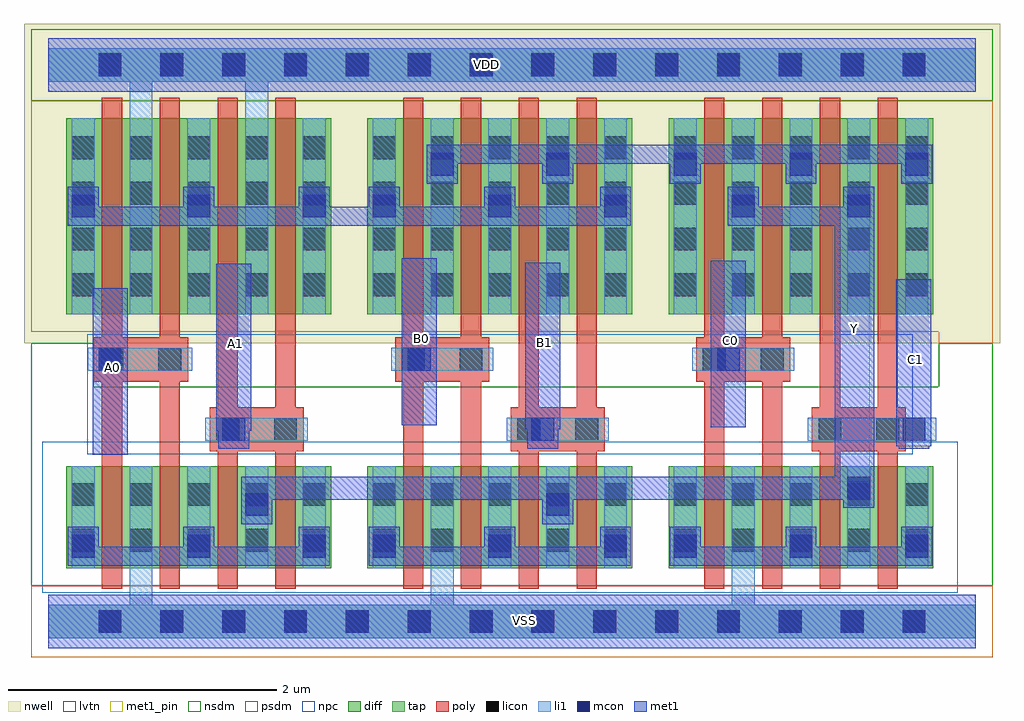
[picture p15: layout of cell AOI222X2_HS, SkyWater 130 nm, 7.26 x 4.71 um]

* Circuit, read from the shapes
.subckt AOI222X2_HS A0 A1 B0 B1 C0 C1 VDD VSS Y
XM1 VSS A0 n1 VSS sky130_fd_pr__nfet_01v8_lvt w=0.76 l=0.15 m=2
XM2 Y A1 n1 VSS sky130_fd_pr__nfet_01v8_lvt w=0.76 l=0.15 m=2
XM3 VSS B0 n2 VSS sky130_fd_pr__nfet_01v8_lvt w=0.76 l=0.15 m=2
XM4 Y B1 n2 VSS sky130_fd_pr__nfet_01v8_lvt w=0.76 l=0.15 m=2
XM5 VSS C0 n3 VSS sky130_fd_pr__nfet_01v8_lvt w=0.76 l=0.15 m=2
XM6 Y C1 n3 VSS sky130_fd_pr__nfet_01v8_lvt w=0.76 l=0.15 m=2
XM7 VDD A0 n4 VDD sky130_fd_pr__pfet_01v8 w=1.46 l=0.15 m=2
XM8 VDD A1 n4 VDD sky130_fd_pr__pfet_01v8 w=1.46 l=0.15 m=2
XM9 n5 B0 n4 VDD sky130_fd_pr__pfet_01v8 w=1.46 l=0.15 m=2
XM10 n5 B1 n4 VDD sky130_fd_pr__pfet_01v8 w=1.46 l=0.15 m=2
XM11 Y C0 n5 VDD sky130_fd_pr__pfet_01v8 w=1.46 l=0.15 m=2
XM12 Y C1 n5 VDD sky130_fd_pr__pfet_01v8 w=1.46 l=0.15 m=2
.ends

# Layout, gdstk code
import gdstk
lib = gdstk.Library(unit=1e-6, precision=1e-09)
def R(c, l, rs):  # rectangles x0, y0, x1, y1
    for r in rs: c.add(gdstk.rectangle(r[:2], r[2:], *l))
def A(c, l, x, y, w, h, nx, ny, dx, dy):  # array of equal rectangles
    R(c, l, [(x+i*dx, y+j*dy, x+i*dx+w, y+j*dy+h) for i in range(nx) for j in range(ny)])
def P(c, l, *ps):  # polygons
    for p in ps: c.add(gdstk.Polygon(p, *l))
nwell = (64, 20)
diff = (65, 20)
tap = (65, 44)
poly = (66, 20)
licon = (66, 44)
li1 = (67, 20)
mcon = (67, 44)
met1_pin = (68, 16)
met1 = (68, 20)
nsdm = (93, 44)
psdm = (94, 20)
npc = (95, 20)
lvtn = (125, 44)

l1m1_c_cdns_750721774071 = lib.new_cell('L1M1_C_CDNS_7507217740715')
R(l1m1_c_cdns_750721774071, li1, [(-0.085,-0.085,0.085,0.085)])
R(l1m1_c_cdns_750721774071, mcon, [(-0.085,-0.085,0.085,0.085)])
R(l1m1_c_cdns_750721774071, met1, [(-0.115,-0.145,0.115,0.145)])

l1m1_c_cdns_750721774072 = lib.new_cell('L1M1_C_CDNS_750721774072')
R(l1m1_c_cdns_750721774072, li1, [(-0.085,-0.165,0.085,0.165)])
R(l1m1_c_cdns_750721774072, mcon, [(-0.085,-0.085,0.085,0.085)])
R(l1m1_c_cdns_750721774072, met1, [(-0.115,-0.145,0.115,0.145)])

pyl1con_c_cdns_750721774 = lib.new_cell('PYL1CON_C_CDNS_750721774073')
R(pyl1con_c_cdns_750721774, poly, [(-0.135,-0.165,0.135,0.165)])
R(pyl1con_c_cdns_750721774, licon, [(-0.085,-0.085,0.085,0.085)])
R(pyl1con_c_cdns_750721774, npc, [(-0.185,-0.185,0.185,0.185)])

l1m1_c_cdns_750721774074 = lib.new_cell('L1M1_C_CDNS_750721774074')
R(l1m1_c_cdns_750721774074, li1, [(-0.165,-0.085,0.165,0.085)])
R(l1m1_c_cdns_750721774074, mcon, [(-0.085,-0.085,0.085,0.085)])
R(l1m1_c_cdns_750721774074, met1, [(-0.115,-0.145,0.115,0.145)])

aoi222x2_hs = lib.new_cell('AOI222X2_HS')
R(aoi222x2_hs, nwell, [(-0.18,2.07,7.08,4.305), (-0.045,2.105,1.385,3.925), (1.025,2.105,2.285,3.925), (2.195,2.105,3.455,3.925), (3.095,2.105,4.525,3.925), (4.435,2.105,5.695,3.925), (5.335,2.105,6.765,3.925), (-0.18,3.875,7.08,4.445)])
A(aoi222x2_hs, diff, 0.4, 0.395, 0.15, 0.76, 4, 1, 0.43, 0)
A(aoi222x2_hs, diff, 2.64, 0.395, 0.15, 0.76, 4, 1, 0.43, 0)
A(aoi222x2_hs, diff, 4.88, 0.395, 0.15, 0.76, 4, 1, 0.43, 0)
A(aoi222x2_hs, diff, 0.4, 2.285, 0.15, 1.46, 4, 1, 0.43, 0)
A(aoi222x2_hs, diff, 2.64, 2.285, 0.15, 1.46, 4, 1, 0.43, 0)
A(aoi222x2_hs, diff, 4.88, 2.285, 0.15, 1.46, 4, 1, 0.43, 0)
R(aoi222x2_hs, diff, [(0.135,0.395,0.4,1.155), (0.55,0.395,0.83,1.155), (0.98,0.395,1.205,1.155), (1.205,0.395,1.26,1.155), (1.41,0.395,1.69,1.155), (1.84,0.395,2.105,1.155), (2.375,0.395,2.64,1.155), (2.79,0.395,3.07,1.155), (3.22,0.395,3.275,1.155), (3.275,0.395,3.5,1.155), (3.65,0.395,3.93,1.155), (4.08,0.395,4.345,1.155), (4.615,0.395,4.88,1.155), (5.03,0.395,5.31,1.155), (5.46,0.395,5.685,1.155), (5.685,0.395,5.74,1.155), (5.89,0.395,6.17,1.155), (6.32,0.395,6.585,1.155), (0.135,2.285,0.4,3.745), (0.55,2.285,0.83,3.745), (0.98,2.285,1.205,3.745), (1.205,2.285,1.26,3.745), (1.41,2.285,1.69,3.745), (1.84,2.285,2.105,3.745), (2.375,2.285,2.64,3.745), (2.79,2.285,3.07,3.745), (3.22,2.285,3.275,3.745), (3.275,2.285,3.5,3.745), (3.65,2.285,3.93,3.745), (4.08,2.285,4.345,3.745), (4.615,2.285,4.88,3.745), (5.03,2.285,5.31,3.745), (5.46,2.285,5.515,3.745), (5.515,2.285,5.74,3.745), (5.89,2.285,6.17,3.745), (6.32,2.285,6.585,3.745)])
A(aoi222x2_hs, poly, 0.4, 0.245, 0.15, 0.055, 4, 2, 0.43, 1.005)
A(aoi222x2_hs, poly, 2.64, 0.245, 0.15, 0.055, 4, 2, 0.43, 1.005)
A(aoi222x2_hs, poly, 4.88, 0.245, 0.15, 0.055, 4, 2, 0.43, 1.005)
A(aoi222x2_hs, poly, 0.4, 0.3, 0.15, 0.095, 4, 2, 0.43, 0.855)
A(aoi222x2_hs, poly, 2.64, 0.3, 0.15, 0.095, 4, 2, 0.43, 0.855)
A(aoi222x2_hs, poly, 4.88, 0.3, 0.15, 0.095, 4, 2, 0.43, 0.855)
A(aoi222x2_hs, poly, 0.4, 0.395, 0.15, 0.76, 4, 1, 0.43, 0)
A(aoi222x2_hs, poly, 2.64, 0.395, 0.15, 0.76, 4, 1, 0.43, 0)
A(aoi222x2_hs, poly, 4.88, 0.395, 0.15, 0.76, 4, 1, 0.43, 0)
A(aoi222x2_hs, poly, 0.4, 2.135, 0.15, 0.055, 4, 2, 0.43, 1.705)
A(aoi222x2_hs, poly, 2.64, 2.135, 0.15, 0.055, 4, 2, 0.43, 1.705)
A(aoi222x2_hs, poly, 4.88, 2.135, 0.15, 0.055, 4, 2, 0.43, 1.705)
A(aoi222x2_hs, poly, 0.4, 2.19, 0.15, 0.095, 4, 2, 0.43, 1.555)
A(aoi222x2_hs, poly, 2.64, 2.19, 0.15, 0.095, 4, 2, 0.43, 1.555)
A(aoi222x2_hs, poly, 4.88, 2.19, 0.15, 0.095, 4, 2, 0.43, 1.555)
A(aoi222x2_hs, poly, 0.4, 2.285, 0.15, 1.46, 4, 1, 0.43, 0)
A(aoi222x2_hs, poly, 2.64, 2.285, 0.15, 1.46, 4, 1, 0.43, 0)
A(aoi222x2_hs, poly, 4.88, 2.285, 0.15, 1.46, 4, 1, 0.43, 0)
A(aoi222x2_hs, licon, 0.375, -0.085, 0.17, 0.17, 14, 2, 0.46, 4.14)
A(aoi222x2_hs, licon, 0.175, 0.52, 0.17, 0.17, 5, 2, 0.43, 0.34)
A(aoi222x2_hs, licon, 2.415, 0.52, 0.17, 0.17, 5, 2, 0.43, 0.34)
A(aoi222x2_hs, licon, 4.655, 0.52, 0.17, 0.17, 5, 2, 0.43, 0.34)
A(aoi222x2_hs, licon, 0.175, 2.42, 0.17, 0.17, 5, 4, 0.43, 0.34)
A(aoi222x2_hs, licon, 2.415, 2.42, 0.17, 0.17, 5, 4, 0.43, 0.34)
A(aoi222x2_hs, licon, 4.655, 2.42, 0.17, 0.17, 5, 4, 0.43, 0.34)
A(aoi222x2_hs, li1, 0.175, 0.395, 0.17, 0.76, 5, 1, 0.43, 0)
A(aoi222x2_hs, li1, 2.415, 0.395, 0.17, 0.76, 5, 1, 0.43, 0)
A(aoi222x2_hs, li1, 4.655, 0.395, 0.17, 0.76, 5, 1, 0.43, 0)
A(aoi222x2_hs, li1, 0.175, 2.285, 0.17, 1.46, 5, 1, 0.43, 0)
A(aoi222x2_hs, li1, 2.415, 2.285, 0.17, 1.46, 5, 1, 0.43, 0)
A(aoi222x2_hs, li1, 4.655, 2.285, 0.17, 1.46, 5, 1, 0.43, 0)
A(aoi222x2_hs, mcon, 0.375, -0.085, 0.17, 0.17, 14, 2, 0.46, 4.14)
R(aoi222x2_hs, met1_pin, [(5.85,1.04,6.11,2.765), (0.33,1.24,0.59,2.48), (6.31,1.305,6.57,2.545), (1.25,1.42,1.51,2.66), (3.55,1.43,3.81,2.67), (4.93,1.445,5.19,2.685), (2.63,1.46,2.89,2.7)])
R(aoi222x2_hs, met1, [(5.85,1.085,6.145,2.945)])
R(aoi222x2_hs, nsdm, [(-0.005,0.265,1.215,1.285), (1.195,0.265,2.245,1.285), (2.235,0.265,3.285,1.285), (3.265,0.265,4.485,1.285), (4.475,0.265,5.695,1.285), (5.675,0.265,6.725,1.285), (-0.125,3.875,7.025,4.405), (-0.125,3.93,7.025,4.35)])
P(aoi222x2_hs, nsdm, [(7.025,2.07),(6.625,2.07),(6.625,1.745),(0.34,1.745),(0.34,2.07),(-0.125,2.07),(-0.125,0.265),(7.025,0.265)])
R(aoi222x2_hs, psdm, [(-0.125,-0.265,7.025,0.265), (-0.125,-0.21,7.025,0.21), (-0.005,2.155,1.215,3.875), (1.195,2.155,2.245,3.875), (2.235,2.155,3.285,3.875), (3.265,2.155,4.485,3.875), (4.475,2.155,5.525,3.875), (5.505,2.155,6.725,3.875)])
P(aoi222x2_hs, psdm, [(7.025,3.875),(-0.125,3.875),(-0.125,2.155),(6.625,2.155),(6.625,2.07),(7.025,2.07)])
R(aoi222x2_hs, npc, [(0.29,1.245,6.43,2.135)])
R(aoi222x2_hs, lvtn, [(-0.045,0.215,1.385,1.335), (1.025,0.215,2.285,1.335), (2.195,0.215,3.455,1.335), (3.095,0.215,4.525,1.335), (4.435,0.215,5.865,1.335), (5.505,0.215,6.765,1.335)])
aoi222x2_hs.add(gdstk.FlexPath([(0,0),(6.9,0)], 0.25, ends="flush", simple_path=True, layer=67, datatype=20))  # li1
aoi222x2_hs.add(gdstk.FlexPath([(0,4.14),(6.9,4.14)], 0.25, ends="flush", simple_path=True, layer=67, datatype=20))  # li1
aoi222x2_hs.add(gdstk.FlexPath([(1.55,4.265),(1.55,2.84)], 0.17, ends="flush", simple_path=True, layer=67, datatype=20))  # li1
aoi222x2_hs.add(gdstk.FlexPath([(1.17,1.43),(1.93,1.43)], 0.17, ends="flush", simple_path=True, layer=67, datatype=20))  # li1
aoi222x2_hs.add(gdstk.FlexPath([(0.31,1.95),(1.07,1.95)], 0.17, ends="flush", simple_path=True, layer=67, datatype=20))  # li1
aoi222x2_hs.add(gdstk.FlexPath([(5.65,1.43),(6.41,1.43)], 0.17, ends="flush", simple_path=True, layer=67, datatype=20))  # li1
aoi222x2_hs.add(gdstk.FlexPath([(0.69,4.265),(0.69,2.84)], 0.17, ends="flush", simple_path=True, layer=67, datatype=20))  # li1
aoi222x2_hs.add(gdstk.FlexPath([(5.17,0.92),(5.17,-0.125)], 0.17, ends="flush", simple_path=True, layer=67, datatype=20))  # li1
aoi222x2_hs.add(gdstk.FlexPath([(2.93,0.92),(2.93,-0.125)], 0.17, ends="flush", simple_path=True, layer=67, datatype=20))  # li1
aoi222x2_hs.add(gdstk.FlexPath([(0.69,0.92),(0.69,-0.125)], 0.17, ends="flush", simple_path=True, layer=67, datatype=20))  # li1
aoi222x2_hs.add(gdstk.FlexPath([(2.55,1.95),(3.31,1.95)], 0.17, ends="flush", simple_path=True, layer=67, datatype=20))  # li1
aoi222x2_hs.add(gdstk.FlexPath([(3.41,1.43),(4.17,1.43)], 0.17, ends="flush", simple_path=True, layer=67, datatype=20))  # li1
aoi222x2_hs.add(gdstk.FlexPath([(4.79,1.95),(5.55,1.95)], 0.17, ends="flush", simple_path=True, layer=67, datatype=20))  # li1
aoi222x2_hs.add(gdstk.FlexPath([(1.335,2.135),(1.335,1.25)], 0.15, ends="flush", simple_path=True, layer=66, datatype=20))  # poly
aoi222x2_hs.add(gdstk.FlexPath([(0.905,2.135),(0.905,1.25)], 0.15, ends="flush", simple_path=True, layer=66, datatype=20))  # poly
aoi222x2_hs.add(gdstk.FlexPath([(6.245,2.135),(6.245,1.25)], 0.15, ends="flush", simple_path=True, layer=66, datatype=20))  # poly
aoi222x2_hs.add(gdstk.FlexPath([(1.765,2.135),(1.765,1.25)], 0.15, ends="flush", simple_path=True, layer=66, datatype=20))  # poly
aoi222x2_hs.add(gdstk.FlexPath([(2.715,1.95),(3.145,1.95)], 0.33, ends="flush", simple_path=True, layer=66, datatype=20))  # poly
aoi222x2_hs.add(gdstk.FlexPath([(3.575,2.135),(3.575,1.25)], 0.15, ends="flush", simple_path=True, layer=66, datatype=20))  # poly
aoi222x2_hs.add(gdstk.FlexPath([(4.005,2.135),(4.005,1.25)], 0.15, ends="flush", simple_path=True, layer=66, datatype=20))  # poly
aoi222x2_hs.add(gdstk.FlexPath([(4.955,1.95),(5.385,1.95)], 0.33, ends="flush", simple_path=True, layer=66, datatype=20))  # poly
aoi222x2_hs.add(gdstk.FlexPath([(5.385,2.135),(5.385,1.25)], 0.15, ends="flush", simple_path=True, layer=66, datatype=20))  # poly
aoi222x2_hs.add(gdstk.FlexPath([(0.475,1.95),(0.905,1.95)], 0.33, ends="flush", simple_path=True, layer=66, datatype=20))  # poly
aoi222x2_hs.add(gdstk.FlexPath([(0.475,2.135),(0.475,1.25)], 0.15, ends="flush", simple_path=True, layer=66, datatype=20))  # poly
aoi222x2_hs.add(gdstk.FlexPath([(1.335,1.43),(1.765,1.43)], 0.33, ends="flush", simple_path=True, layer=66, datatype=20))  # poly
aoi222x2_hs.add(gdstk.FlexPath([(2.715,2.135),(2.715,1.25)], 0.15, ends="flush", simple_path=True, layer=66, datatype=20))  # poly
aoi222x2_hs.add(gdstk.FlexPath([(3.145,2.135),(3.145,1.25)], 0.15, ends="flush", simple_path=True, layer=66, datatype=20))  # poly
aoi222x2_hs.add(gdstk.FlexPath([(3.575,1.43),(4.005,1.43)], 0.33, ends="flush", simple_path=True, layer=66, datatype=20))  # poly
aoi222x2_hs.add(gdstk.FlexPath([(4.955,2.135),(4.955,1.25)], 0.15, ends="flush", simple_path=True, layer=66, datatype=20))  # poly
aoi222x2_hs.add(gdstk.FlexPath([(5.815,1.43),(6.245,1.43)], 0.33, ends="flush", simple_path=True, layer=66, datatype=20))  # poly
aoi222x2_hs.add(gdstk.FlexPath([(5.815,2.135),(5.815,1.25)], 0.15, ends="flush", simple_path=True, layer=66, datatype=20))  # poly
aoi222x2_hs.add(gdstk.FlexPath([(0,4.14),(6.9,4.14)], 0.4, ends="flush", simple_path=True, layer=68, datatype=20))  # met1
aoi222x2_hs.add(gdstk.FlexPath([(4.625,0.485),(6.575,0.485)], 0.14, ends="flush", simple_path=True, layer=68, datatype=20))  # met1
aoi222x2_hs.add(gdstk.FlexPath([(2.385,0.485),(4.335,0.485)], 0.14, ends="flush", simple_path=True, layer=68, datatype=20))  # met1
aoi222x2_hs.add(gdstk.FlexPath([(0.145,0.485),(2.095,0.485)], 0.14, ends="flush", simple_path=True, layer=68, datatype=20))  # met1
aoi222x2_hs.add(gdstk.FlexPath([(0.46,2.48),(0.46,1.24)], 0.26, ends="flush", simple_path=True, layer=68, datatype=20))  # met1
aoi222x2_hs.add(gdstk.FlexPath([(1.38,2.66),(1.38,1.42)], 0.26, ends="flush", simple_path=True, layer=68, datatype=20))  # met1
aoi222x2_hs.add(gdstk.FlexPath([(5.06,2.685),(5.06,1.445)], 0.26, ends="flush", simple_path=True, layer=68, datatype=20))  # met1
aoi222x2_hs.add(gdstk.FlexPath([(5.98,2.76),(5.98,3.015)], 0.26, ends="flush", simple_path=True, layer=68, datatype=20))  # met1
aoi222x2_hs.add(gdstk.FlexPath([(6.145,0.99),(6.03,0.99)], 0.17, ends=(0, 0.115), simple_path=True, layer=68, datatype=20))  # met1
aoi222x2_hs.add(gdstk.FlexPath([(2.76,2.7),(2.76,1.46)], 0.26, ends="flush", simple_path=True, layer=68, datatype=20))  # met1
aoi222x2_hs.add(gdstk.FlexPath([(3.68,2.67),(3.68,1.43)], 0.26, ends="flush", simple_path=True, layer=68, datatype=20))  # met1
aoi222x2_hs.add(gdstk.FlexPath([(6.44,2.545),(6.44,1.305)], 0.26, ends="flush", simple_path=True, layer=68, datatype=20))  # met1
aoi222x2_hs.add(gdstk.FlexPath([(1.435,0.99),(6.03,0.99)], 0.17, ends=(0, 0.115), simple_path=True, layer=68, datatype=20))  # met1
aoi222x2_hs.add(gdstk.FlexPath([(5.98,1.04),(5.98,2.76)], 0.26, ends="flush", simple_path=True, layer=68, datatype=20))  # met1
aoi222x2_hs.add(gdstk.FlexPath([(6.145,3.015),(5.055,3.015)], 0.14, ends="flush", simple_path=True, layer=68, datatype=20))  # met1
aoi222x2_hs.add(gdstk.FlexPath([(5.055,3.015),(5.17,3.015)], 0.14, ends=(0, 0.115), simple_path=True, layer=68, datatype=20))  # met1
aoi222x2_hs.add(gdstk.FlexPath([(6.575,3.475),(2.815,3.475)], 0.14, ends="flush", simple_path=True, layer=68, datatype=20))  # met1
aoi222x2_hs.add(gdstk.FlexPath([(0.26,3.015),(0.145,3.015)], 0.14, ends=(0.115, 0), simple_path=True, layer=68, datatype=20))  # met1
aoi222x2_hs.add(gdstk.FlexPath([(4.335,3.015),(0.145,3.015)], 0.14, ends="flush", simple_path=True, layer=68, datatype=20))  # met1
aoi222x2_hs.add(gdstk.FlexPath([(0,0),(6.9,0)], 0.4, ends="flush", simple_path=True, layer=68, datatype=20))  # met1
aoi222x2_hs.add(gdstk.FlexPath([(0,4.14),(6.9,4.14)], 0.4, ends="flush", simple_path=True, layer=68, datatype=16))  # met1_pin
aoi222x2_hs.add(gdstk.FlexPath([(0,0),(6.9,0)], 0.4, ends="flush", simple_path=True, layer=68, datatype=16))  # met1_pin
aoi222x2_hs.add(gdstk.FlexPath([(0,0),(6.9,0)], 0.25, ends="flush", simple_path=True, layer=65, datatype=44))  # tap
aoi222x2_hs.add(gdstk.FlexPath([(0,4.14),(6.9,4.14)], 0.25, ends="flush", simple_path=True, layer=65, datatype=44))  # tap
aoi222x2_hs.add(gdstk.Reference(l1m1_c_cdns_750721774071, (6.46,3.4), x_reflection=True))
aoi222x2_hs.add(gdstk.Reference(l1m1_c_cdns_750721774071, (5.6,3.4), x_reflection=True))
aoi222x2_hs.add(gdstk.Reference(l1m1_c_cdns_750721774071, (4.74,3.4), x_reflection=True))
aoi222x2_hs.add(gdstk.Reference(l1m1_c_cdns_750721774071, (3.79,3.4), x_reflection=True))
aoi222x2_hs.add(gdstk.Reference(l1m1_c_cdns_750721774071, (2.93,3.4), x_reflection=True))
aoi222x2_hs.add(gdstk.Reference(l1m1_c_cdns_750721774072, (4.22,3.09), x_reflection=True))
aoi222x2_hs.add(gdstk.Reference(l1m1_c_cdns_750721774072, (3.36,3.09), x_reflection=True))
aoi222x2_hs.add(gdstk.Reference(l1m1_c_cdns_750721774072, (2.5,3.09), x_reflection=True))
aoi222x2_hs.add(gdstk.Reference(l1m1_c_cdns_750721774072, (1.98,3.09), x_reflection=True))
aoi222x2_hs.add(gdstk.Reference(l1m1_c_cdns_750721774072, (1.12,3.09), x_reflection=True))
aoi222x2_hs.add(gdstk.Reference(l1m1_c_cdns_750721774072, (0.26,3.09), x_reflection=True))
aoi222x2_hs.add(gdstk.Reference(l1m1_c_cdns_750721774072, (5.17,3.09), x_reflection=True))
aoi222x2_hs.add(gdstk.Reference(l1m1_c_cdns_750721774072, (6.03,3.09), x_reflection=True))
aoi222x2_hs.add(gdstk.Reference(l1m1_c_cdns_750721774072, (6.03,0.99), x_reflection=True))
aoi222x2_hs.add(gdstk.Reference(l1m1_c_cdns_750721774072, (3.79,0.87), x_reflection=True))
aoi222x2_hs.add(gdstk.Reference(l1m1_c_cdns_750721774072, (1.55,0.87), x_reflection=True))
aoi222x2_hs.add(gdstk.Reference(l1m1_c_cdns_750721774072, (0.26,0.56), x_reflection=True))
aoi222x2_hs.add(gdstk.Reference(l1m1_c_cdns_750721774072, (1.12,0.56), x_reflection=True))
aoi222x2_hs.add(gdstk.Reference(l1m1_c_cdns_750721774072, (1.98,0.56), x_reflection=True))
aoi222x2_hs.add(gdstk.Reference(l1m1_c_cdns_750721774072, (2.5,0.56), x_reflection=True))
aoi222x2_hs.add(gdstk.Reference(l1m1_c_cdns_750721774072, (3.36,0.56), x_reflection=True))
aoi222x2_hs.add(gdstk.Reference(l1m1_c_cdns_750721774072, (4.22,0.56), x_reflection=True))
aoi222x2_hs.add(gdstk.Reference(l1m1_c_cdns_750721774072, (4.74,0.56), x_reflection=True))
aoi222x2_hs.add(gdstk.Reference(l1m1_c_cdns_750721774072, (5.6,0.56), x_reflection=True))
aoi222x2_hs.add(gdstk.Reference(l1m1_c_cdns_750721774072, (6.46,0.56), x_reflection=True))
aoi222x2_hs.add(gdstk.Reference(pyl1con_c_cdns_750721774, (0.475,1.95), x_reflection=True))
aoi222x2_hs.add(gdstk.Reference(pyl1con_c_cdns_750721774, (1.765,1.43), x_reflection=True))
aoi222x2_hs.add(gdstk.Reference(pyl1con_c_cdns_750721774, (4.955,1.95), x_reflection=True))
aoi222x2_hs.add(gdstk.Reference(pyl1con_c_cdns_750721774, (1.335,1.43), x_reflection=True))
aoi222x2_hs.add(gdstk.Reference(pyl1con_c_cdns_750721774, (2.715,1.95), x_reflection=True))
aoi222x2_hs.add(gdstk.Reference(pyl1con_c_cdns_750721774, (0.905,1.95), x_reflection=True))
aoi222x2_hs.add(gdstk.Reference(pyl1con_c_cdns_750721774, (6.245,1.43), x_reflection=True))
aoi222x2_hs.add(gdstk.Reference(pyl1con_c_cdns_750721774, (5.385,1.95), x_reflection=True))
aoi222x2_hs.add(gdstk.Reference(pyl1con_c_cdns_750721774, (3.575,1.43), x_reflection=True))
aoi222x2_hs.add(gdstk.Reference(pyl1con_c_cdns_750721774, (5.815,1.43), x_reflection=True))
aoi222x2_hs.add(gdstk.Reference(pyl1con_c_cdns_750721774, (4.005,1.43), x_reflection=True))
aoi222x2_hs.add(gdstk.Reference(pyl1con_c_cdns_750721774, (3.145,1.95), x_reflection=True))
aoi222x2_hs.add(gdstk.Reference(l1m1_c_cdns_750721774074, (6.44,1.43)))
aoi222x2_hs.add(gdstk.Reference(l1m1_c_cdns_750721774074, (5.06,1.95)))
aoi222x2_hs.add(gdstk.Reference(l1m1_c_cdns_750721774074, (1.38,1.43)))
aoi222x2_hs.add(gdstk.Reference(l1m1_c_cdns_750721774074, (3.68,1.43)))
aoi222x2_hs.add(gdstk.Reference(l1m1_c_cdns_750721774074, (2.76,1.95)))
aoi222x2_hs.add(gdstk.Reference(l1m1_c_cdns_750721774074, (0.46,1.95)))
aoi222x2_hs.add(gdstk.Label('VDD', (3.26,4.145), layer=68, texttype=5))
aoi222x2_hs.add(gdstk.Label('C1', (6.455,1.95), layer=68, texttype=5))
aoi222x2_hs.add(gdstk.Label('A0', (0.475,1.89), layer=68, texttype=5))
aoi222x2_hs.add(gdstk.Label('B0', (2.775,2.105), layer=68, texttype=5))
aoi222x2_hs.add(gdstk.Label('C0', (5.075,2.09), layer=68, texttype=5))
aoi222x2_hs.add(gdstk.Label('A1', (1.395,2.065), layer=68, texttype=5))
aoi222x2_hs.add(gdstk.Label('B1', (3.695,2.075), layer=68, texttype=5))
aoi222x2_hs.add(gdstk.Label('Y', (5.995,2.18), layer=68, texttype=5))
aoi222x2_hs.add(gdstk.Label('VSS', (3.54,0.005), layer=68, texttype=5))

lib.write_gds('AOI222X2_HS.gds')
